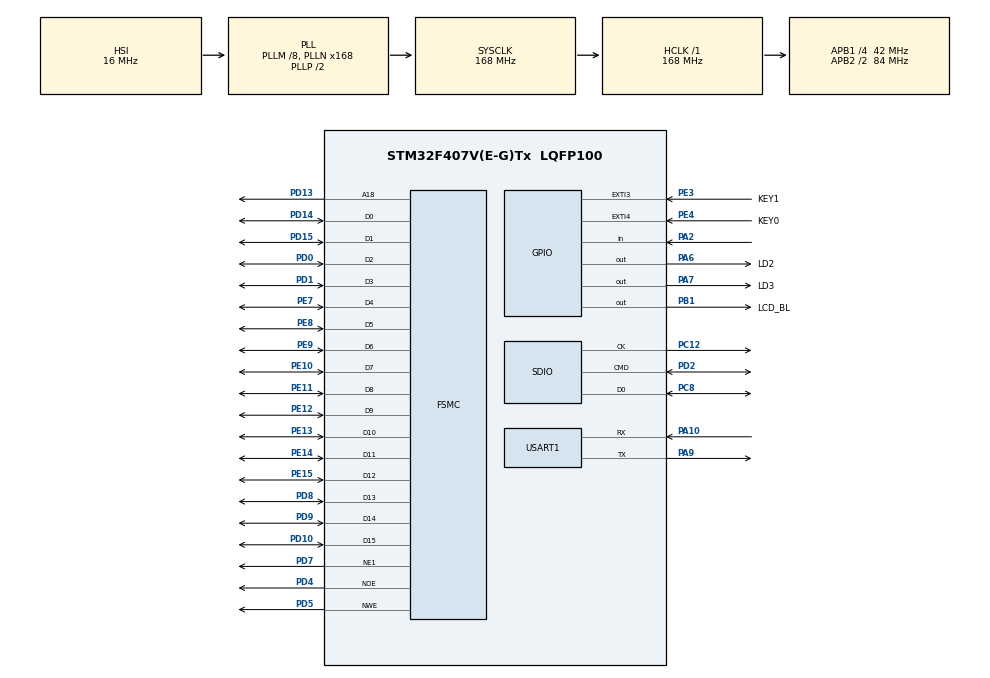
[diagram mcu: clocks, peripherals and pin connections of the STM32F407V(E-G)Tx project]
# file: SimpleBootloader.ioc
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Dma.Request0=SDIO_RX
Dma.Request1=SDIO_TX
Dma.SDIO_RX.0.Direction=DMA_PERIPH_TO_MEMORY
Dma.SDIO_RX.0.FIFOMode=DMA_FIFOMODE_ENABLE
Dma.SDIO_RX.0.FIFOThreshold=DMA_FIFO_THRESHOLD_FULL
Dma.SDIO_RX.0.Instance=DMA2_Stream3
Dma.SDIO_RX.0.MemBurst=DMA_MBURST_INC4
Dma.SDIO_RX.0.MemDataAlignment=DMA_MDATAALIGN_WORD
Dma.SDIO_RX.0.MemInc=DMA_MINC_ENABLE
Dma.SDIO_RX.0.Mode=DMA_PFCTRL
Dma.SDIO_RX.0.PeriphBurst=DMA_PBURST_INC4
Dma.SDIO_RX.0.PeriphDataAlignment=DMA_PDATAALIGN_WORD
Dma.SDIO_RX.0.PeriphInc=DMA_PINC_DISABLE
Dma.SDIO_RX.0.Priority=DMA_PRIORITY_LOW
Dma.SDIO_TX.1.Direction=DMA_MEMORY_TO_PERIPH
Dma.SDIO_TX.1.FIFOMode=DMA_FIFOMODE_ENABLE
Dma.SDIO_TX.1.FIFOThreshold=DMA_FIFO_THRESHOLD_FULL
Dma.SDIO_TX.1.Instance=DMA2_Stream6
Dma.SDIO_TX.1.MemBurst=DMA_MBURST_INC4
Dma.SDIO_TX.1.MemDataAlignment=DMA_MDATAALIGN_WORD
Dma.SDIO_TX.1.MemInc=DMA_MINC_ENABLE
Dma.SDIO_TX.1.Mode=DMA_PFCTRL
Dma.SDIO_TX.1.PeriphBurst=DMA_PBURST_INC4
Dma.SDIO_TX.1.PeriphDataAlignment=DMA_PDATAALIGN_WORD
Dma.SDIO_TX.1.PeriphInc=DMA_PINC_DISABLE
Dma.SDIO_TX.1.Priority=DMA_PRIORITY_LOW
FATFS.BSP.number=1
FATFS._MAX_SS=4096
FATFS._USE_LFN=0
FATFS0.BSP.STBoard=false
FATFS0.BSP.api=Unknown
FATFS0.BSP.instance=PA2
FATFS0.BSP.ip=GPIO
FATFS0.BSP.mode=Input
FATFS0.BSP.name=Detect_SDIO
FATFS0.BSP.solution=PA2
FSMC.AddressSetupTime1=1
FSMC.BusTurnAroundDuration1=0
FSMC.DataSetupTime1=5
Mcu.Family=STM32F4
Mcu.Name=STM32F407V(E-G)Tx
Mcu.Package=LQFP100
NVIC.DMA2_Stream3_IRQn=true\:0\:0\:false\:false\:true\:false\:true\:true
NVIC.DMA2_Stream6_IRQn=true\:0\:0\:false\:false\:true\:false\:true\:true
NVIC.EXTI3_IRQn=true\:0\:0\:false\:false\:true\:true\:true\:true
NVIC.EXTI4_IRQn=true\:0\:0\:false\:false\:true\:true\:true\:true
NVIC.PriorityGroup=NVIC_PRIORITYGROUP_4
NVIC.TIM6_DAC_IRQn=true\:0\:0\:false\:false\:true\:true\:true\:true
NVIC.TIM7_IRQn=true\:0\:0\:false\:false\:true\:true\:true\:true
PA10.Mode=Asynchronous
PA10.Signal=USART1_RX
PA13.Mode=Serial_Wire
PA13.Signal=SYS_JTMS-SWDIO
PA14.Mode=Serial_Wire
PA14.Signal=SYS_JTCK-SWCLK
PA2.Signal=GPIO_Input
PA6.GPIO_Label=LD2
PA6.PinState=GPIO_PIN_SET
PA6.Signal=GPIO_Output
PA7.GPIO_Label=LD3
PA7.PinState=GPIO_PIN_SET
PA7.Signal=GPIO_Output
PA9.Mode=Asynchronous
PA9.Signal=USART1_TX
PB1.GPIO_Label=LCD_BL
PB1.Signal=GPIO_Output
PC10.GPIO_Label=uSD_D2
PC10.Signal=SDIO_D2
PC11.GPIO_Label=uSD_D3
PC11.Signal=SDIO_D3
PC12.Mode=SD_1_bit
PC12.Signal=SDIO_CK
PC8.Mode=SD_1_bit
PC8.Signal=SDIO_D0
PC9.GPIO_Label=uSD_D1
PC9.Signal=SDIO_D1
PD0.Mode=16b-d1
PD0.Signal=FSMC_D2
PD1.Mode=16b-d1
PD1.Signal=FSMC_D3
PD10.Mode=16b-d1
PD10.Signal=FSMC_D15
PD13.Mode=A18_1
PD13.Signal=FSMC_A18
PD14.Mode=16b-d1
PD14.Signal=FSMC_D0
PD15.Mode=16b-d1
PD15.Signal=FSMC_D1
PD2.Mode=SD_1_bit
PD2.Signal=SDIO_CMD
PD4.Mode=Lcd1
PD4.Signal=FSMC_NOE
PD5.Mode=Lcd1
PD5.Signal=FSMC_NWE
PD7.Mode=NorPsramChipSelect1_1
PD7.Signal=FSMC_NE1
PD8.Mode=16b-d1
PD8.Signal=FSMC_D13
PD9.Mode=16b-d1
PD9.Signal=FSMC_D14
PE10.Mode=16b-d1
PE10.Signal=FSMC_D7
PE11.Mode=16b-d1
PE11.Signal=FSMC_D8
PE12.Mode=16b-d1
PE12.Signal=FSMC_D9
PE13.Mode=16b-d1
PE13.Signal=FSMC_D10
PE14.Mode=16b-d1
PE14.Signal=FSMC_D11
PE15.Mode=16b-d1
PE15.Signal=FSMC_D12
PE3.GPIO_Label=KEY1
PE3.GPIO_PuPd=GPIO_PULLUP
PE3.Signal=GPXTI3
PE4.GPIO_Label=KEY0
PE4.GPIO_PuPd=GPIO_PULLUP
PE4.Signal=GPXTI4
PE7.Mode=16b-d1
PE7.Signal=FSMC_D4
PE8.Mode=16b-d1
PE8.Signal=FSMC_D5
PE9.Mode=16b-d1
PE9.Signal=FSMC_D6
PH0-OSC_IN.Mode=HSE-External-Oscillator
PH0-OSC_IN.Signal=RCC_OSC_IN
PH1-OSC_OUT.Mode=HSE-External-Oscillator
PH1-OSC_OUT.Signal=RCC_OSC_OUT
ProjectManager.HeapSize=0x200
ProjectManager.StackSize=0x400
ProjectManager.TargetToolchain=STM32CubeIDE
RCC.48MHZClocksFreq_Value=48000000
RCC.AHBFreq_Value=168000000
RCC.APB1CLKDivider=RCC_HCLK_DIV4
RCC.APB1Freq_Value=42000000
RCC.APB1TimFreq_Value=84000000
RCC.APB2CLKDivider=RCC_HCLK_DIV2
RCC.APB2Freq_Value=84000000
RCC.APB2TimFreq_Value=168000000
RCC.CortexFreq_Value=168000000
RCC.HCLKFreq_Value=168000000
RCC.HSE_VALUE=25000000
RCC.HSI_VALUE=16000000
RCC.LSE_VALUE=32768
RCC.PLLM=8
RCC.PLLN=168
RCC.PLLQ=7
RCC.SYSCLKFreq_VALUE=168000000
RCC.SYSCLKSource=RCC_SYSCLKSOURCE_PLLCLK
RCC.VCOOutputFreq_Value=336000000
SDIO.ClockDiv=3
TIM6.Period=100
TIM6.Prescaler=7999
TIM7.Period=10000
TIM7.Prescaler=7999
USART1.VirtualMode=VM_ASYNC
VP_FATFS_VS_SDIO.Mode=SDIO
VP_TIM6_VS_ClockSourceINT.Mode=Enable_Timer
VP_TIM7_VS_ClockSourceINT.Mode=Enable_Timer
board=custom

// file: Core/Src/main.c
/* USER CODE BEGIN Header */
/**
  ******************************************************************************
  * @file           : main.c
  * @brief          : Main program body
  ******************************************************************************
  * @attention
  *
  * Copyright (c) 2024 STMicroelectronics.
  * All rights reserved.
  *
  * This software is licensed under terms that can be found in the LICENSE file
  * in the root directory of this software component.
  * If no LICENSE file comes with this software, it is provided AS-IS.
  *
  ******************************************************************************
  */
/* USER CODE END Header */
#include "main.h"
#include "fatfs.h"

/* USER CODE BEGIN Includes */
#include "etx_ota_update.h"
#include "ili9341.h"
#include <stdio.h>

/* USER CODE END Includes */

/* USER CODE BEGIN PD */
void PrintBootTimer();
void LoadApp();
static void GoToApplication(void);
void Intro();

/* USER CODE END PD */

SD_HandleTypeDef hsd;
DMA_HandleTypeDef hdma_sdio_rx;
DMA_HandleTypeDef hdma_sdio_tx;

TIM_HandleTypeDef htim6;
TIM_HandleTypeDef htim7;

UART_HandleTypeDef huart1;

SRAM_HandleTypeDef hsram1;

/* USER CODE BEGIN PV */
char file_name[17];
uint8_t num_files;
char file_names[16][13];

bool exist_update = false;
const uint8_t boot_timer_max = 10;
uint8_t boot_timer = boot_timer_max;
uint32_t switch_delay = 1000;

bool debounce_flag = false;

const uint16_t text_color = COLOR_WHITE;
const uint16_t bg_color = COLOR_BLACK;
sFONT font;

/* USER CODE END PV */

void SystemClock_Config(void);
static void MX_GPIO_Init(void);
static void MX_DMA_Init(void);
static void MX_USART1_UART_Init(void);
static void MX_SDIO_SD_Init(void);
static void MX_FSMC_Init(void);
static void MX_TIM6_Init(void);
static void MX_TIM7_Init(void);

/* USER CODE BEGIN 0 */
int _write(int file, char *ptr, int len)
{
	HAL_UART_Transmit(&huart1, (uint8_t *) ptr, len, HAL_MAX_DELAY);
	lcdPrint(ptr, len);
	return len;
}

/* USER CODE END 0 */

int main(void)
{

  /* USER CODE BEGIN 1 */
	font = Font12;

  /* USER CODE END 1 */

  /* MCU Configuration--------------------------------------------------------*/

  /* Reset of all peripherals, Initializes the Flash interface and the Systick. */
  HAL_Init();

  /* Configure the system clock */
  SystemClock_Config();

  /* Initialize all configured peripherals */
  MX_GPIO_Init();
  MX_DMA_Init();
  MX_USART1_UART_Init();
  MX_SDIO_SD_Init();
  MX_FATFS_Init();
  MX_FSMC_Init();
  MX_TIM6_Init();
  MX_TIM7_Init();
  /* USER CODE BEGIN 2 */

	lcdBacklightOn();
	lcdInit();
	lcdSetOrientation(LCD_ORIENTATION_PORTRAIT_MIRROR);
	lcdFillRGB(bg_color);
	lcdSetTextFont(&font);
	lcdSetTextColor(text_color, bg_color);

	Intro();
	PrintBootTimer();

	HAL_TIM_Base_Init(&htim7);
	HAL_TIM_Base_Start_IT(&htim7);

	while (boot_timer > 0);

	HAL_TIM_Base_Stop_IT(&htim7);
	LoadApp();

  /* USER CODE END 2 */

  /* Infinite loop */
  while (1)
  {

  }
}

void SystemClock_Config(void)
{
  RCC_OscInitTypeDef RCC_OscInitStruct = {0};
  RCC_ClkInitTypeDef RCC_ClkInitStruct = {0};

  /** Configure the main internal regulator output voltage
  */
  __HAL_RCC_PWR_CLK_ENABLE();
  __HAL_PWR_VOLTAGESCALING_CONFIG(PWR_REGULATOR_VOLTAGE_SCALE1);

  /** Initializes the RCC Oscillators according to the specified parameters
  * in the RCC_OscInitTypeDef structure.
  */
  RCC_OscInitStruct.OscillatorType = RCC_OSCILLATORTYPE_HSI;
  RCC_OscInitStruct.HSIState = RCC_HSI_ON;
  RCC_OscInitStruct.HSICalibrationValue = RCC_HSICALIBRATION_DEFAULT;
  RCC_OscInitStruct.PLL.PLLState = RCC_PLL_ON;
  RCC_OscInitStruct.PLL.PLLSource = RCC_PLLSOURCE_HSI;
  RCC_OscInitStruct.PLL.PLLM = 8;
  RCC_OscInitStruct.PLL.PLLN = 168;
  RCC_OscInitStruct.PLL.PLLP = RCC_PLLP_DIV2;
  RCC_OscInitStruct.PLL.PLLQ = 7;
  if (HAL_RCC_OscConfig(&RCC_OscInitStruct) != HAL_OK)
  {
    Error_Handler();
  }

  /** Initializes the CPU, AHB and APB buses clocks
  */
  RCC_ClkInitStruct.ClockType = RCC_CLOCKTYPE_HCLK|RCC_CLOCKTYPE_SYSCLK
                              |RCC_CLOCKTYPE_PCLK1|RCC_CLOCKTYPE_PCLK2;
  RCC_ClkInitStruct.SYSCLKSource = RCC_SYSCLKSOURCE_PLLCLK;
  RCC_ClkInitStruct.AHBCLKDivider = RCC_SYSCLK_DIV1;
  RCC_ClkInitStruct.APB1CLKDivider = RCC_HCLK_DIV4;
  RCC_ClkInitStruct.APB2CLKDivider = RCC_HCLK_DIV2;

  if (HAL_RCC_ClockConfig(&RCC_ClkInitStruct, FLASH_LATENCY_5) != HAL_OK)
  {
    Error_Handler();
  }
}

static void MX_SDIO_SD_Init(void)
{

  hsd.Instance = SDIO;
  hsd.Init.ClockEdge = SDIO_CLOCK_EDGE_RISING;
  hsd.Init.ClockBypass = SDIO_CLOCK_BYPASS_DISABLE;
  hsd.Init.ClockPowerSave = SDIO_CLOCK_POWER_SAVE_DISABLE;
  hsd.Init.BusWide = SDIO_BUS_WIDE_1B;
  hsd.Init.HardwareFlowControl = SDIO_HARDWARE_FLOW_CONTROL_DISABLE;
  hsd.Init.ClockDiv = 3;
  /* USER CODE BEGIN SDIO_Init 2 */
  if (HAL_SD_Init(&hsd) != HAL_OK)
  {
     Error_Handler();
  }
  if (HAL_SD_ConfigWideBusOperation(&hsd, SDIO_BUS_WIDE_4B) != HAL_OK)
  {
     Error_Handler();
  }
  /* USER CODE END SDIO_Init 2 */

}

static void MX_TIM6_Init(void)
{

  TIM_MasterConfigTypeDef sMasterConfig = {0};

  htim6.Instance = TIM6;
  htim6.Init.Prescaler = 7999;
  htim6.Init.CounterMode = TIM_COUNTERMODE_UP;
  htim6.Init.Period = 100;
  htim6.Init.AutoReloadPreload = TIM_AUTORELOAD_PRELOAD_DISABLE;
  if (HAL_TIM_Base_Init(&htim6) != HAL_OK)
  {
    Error_Handler();
  }
  sMasterConfig.MasterOutputTrigger = TIM_TRGO_RESET;
  sMasterConfig.MasterSlaveMode = TIM_MASTERSLAVEMODE_DISABLE;
  if (HAL_TIMEx_MasterConfigSynchronization(&htim6, &sMasterConfig) != HAL_OK)
  {
    Error_Handler();
  }

}

static void MX_TIM7_Init(void)
{

  TIM_MasterConfigTypeDef sMasterConfig = {0};

  htim7.Instance = TIM7;
  htim7.Init.Prescaler = 7999;
  htim7.Init.CounterMode = TIM_COUNTERMODE_UP;
  htim7.Init.Period = 10000;
  htim7.Init.AutoReloadPreload = TIM_AUTORELOAD_PRELOAD_DISABLE;
  if (HAL_TIM_Base_Init(&htim7) != HAL_OK)
  {
    Error_Handler();
  }
  sMasterConfig.MasterOutputTrigger = TIM_TRGO_RESET;
  sMasterConfig.MasterSlaveMode = TIM_MASTERSLAVEMODE_DISABLE;
  if (HAL_TIMEx_MasterConfigSynchronization(&htim7, &sMasterConfig) != HAL_OK)
  {
    Error_Handler();
  }

}

static void MX_USART1_UART_Init(void)
{

  huart1.Instance = USART1;
  huart1.Init.BaudRate = 115200;
  huart1.Init.WordLength = UART_WORDLENGTH_8B;
  huart1.Init.StopBits = UART_STOPBITS_1;
  huart1.Init.Parity = UART_PARITY_NONE;
  huart1.Init.Mode = UART_MODE_TX_RX;
  huart1.Init.HwFlowCtl = UART_HWCONTROL_NONE;
  huart1.Init.OverSampling = UART_OVERSAMPLING_16;
  if (HAL_UART_Init(&huart1) != HAL_OK)
  {
    Error_Handler();
  }

}

static void MX_DMA_Init(void)
{

  /* DMA controller clock enable */
  __HAL_RCC_DMA2_CLK_ENABLE();

  /* DMA interrupt init */
  /* DMA2_Stream3_IRQn interrupt configuration */
  HAL_NVIC_SetPriority(DMA2_Stream3_IRQn, 0, 0);
  HAL_NVIC_EnableIRQ(DMA2_Stream3_IRQn);
  /* DMA2_Stream6_IRQn interrupt configuration */
  HAL_NVIC_SetPriority(DMA2_Stream6_IRQn, 0, 0);
  HAL_NVIC_EnableIRQ(DMA2_Stream6_IRQn);

}

static void MX_GPIO_Init(void)
{
  GPIO_InitTypeDef GPIO_InitStruct = {0};

  /* GPIO Ports Clock Enable */
  __HAL_RCC_GPIOE_CLK_ENABLE();
  __HAL_RCC_GPIOH_CLK_ENABLE();
  __HAL_RCC_GPIOA_CLK_ENABLE();
  __HAL_RCC_GPIOB_CLK_ENABLE();
  __HAL_RCC_GPIOD_CLK_ENABLE();
  __HAL_RCC_GPIOC_CLK_ENABLE();

  /*Configure GPIO pin Output Level */
  HAL_GPIO_WritePin(GPIOA, LD2_Pin|LD3_Pin, GPIO_PIN_SET);

  /*Configure GPIO pin Output Level */
  HAL_GPIO_WritePin(LCD_BL_GPIO_Port, LCD_BL_Pin, GPIO_PIN_RESET);

  /*Configure GPIO pins : KEY1_Pin KEY0_Pin */
  GPIO_InitStruct.Pin = KEY1_Pin|KEY0_Pin;
  GPIO_InitStruct.Mode = GPIO_MODE_IT_RISING;
  GPIO_InitStruct.Pull = GPIO_PULLUP;
  HAL_GPIO_Init(GPIOE, &GPIO_InitStruct);

  /*Configure GPIO pin : PA2 */
  GPIO_InitStruct.Pin = GPIO_PIN_2;
  GPIO_InitStruct.Mode = GPIO_MODE_INPUT;
  GPIO_InitStruct.Pull = GPIO_NOPULL;
  HAL_GPIO_Init(GPIOA, &GPIO_InitStruct);

  /*Configure GPIO pins : LD2_Pin LD3_Pin */
  GPIO_InitStruct.Pin = LD2_Pin|LD3_Pin;
  GPIO_InitStruct.Mode = GPIO_MODE_OUTPUT_PP;
  GPIO_InitStruct.Pull = GPIO_NOPULL;
  GPIO_InitStruct.Speed = GPIO_SPEED_FREQ_LOW;
  HAL_GPIO_Init(GPIOA, &GPIO_InitStruct);

  /*Configure GPIO pin : LCD_BL_Pin */
  GPIO_InitStruct.Pin = LCD_BL_Pin;
  GPIO_InitStruct.Mode = GPIO_MODE_OUTPUT_PP;
  GPIO_InitStruct.Pull = GPIO_NOPULL;
  GPIO_InitStruct.Speed = GPIO_SPEED_FREQ_LOW;
  HAL_GPIO_Init(LCD_BL_GPIO_Port, &GPIO_InitStruct);

  /* EXTI interrupt init*/
  HAL_NVIC_SetPriority(EXTI3_IRQn, 0, 0);
  HAL_NVIC_EnableIRQ(EXTI3_IRQn);

  HAL_NVIC_SetPriority(EXTI4_IRQn, 0, 0);
  HAL_NVIC_EnableIRQ(EXTI4_IRQn);

}

/* FSMC initialization function */
static void MX_FSMC_Init(void)
{

  FSMC_NORSRAM_TimingTypeDef Timing = {0};

  /** Perform the SRAM1 memory initialization sequence
  */
  hsram1.Instance = FSMC_NORSRAM_DEVICE;
  hsram1.Extended = FSMC_NORSRAM_EXTENDED_DEVICE;
  /* hsram1.Init */
  hsram1.Init.NSBank = FSMC_NORSRAM_BANK1;
  hsram1.Init.DataAddressMux = FSMC_DATA_ADDRESS_MUX_DISABLE;
  hsram1.Init.MemoryType = FSMC_MEMORY_TYPE_SRAM;
  hsram1.Init.MemoryDataWidth = FSMC_NORSRAM_MEM_BUS_WIDTH_16;
  hsram1.Init.BurstAccessMode = FSMC_BURST_ACCESS_MODE_DISABLE;
  hsram1.Init.WaitSignalPolarity = FSMC_WAIT_SIGNAL_POLARITY_LOW;
  hsram1.Init.WrapMode = FSMC_WRAP_MODE_DISABLE;
  hsram1.Init.WaitSignalActive = FSMC_WAIT_TIMING_BEFORE_WS;
  hsram1.Init.WriteOperation = FSMC_WRITE_OPERATION_ENABLE;
  hsram1.Init.WaitSignal = FSMC_WAIT_SIGNAL_DISABLE;
  hsram1.Init.ExtendedMode = FSMC_EXTENDED_MODE_DISABLE;
  hsram1.Init.AsynchronousWait = FSMC_ASYNCHRONOUS_WAIT_DISABLE;
  hsram1.Init.WriteBurst = FSMC_WRITE_BURST_DISABLE;
  hsram1.Init.PageSize = FSMC_PAGE_SIZE_NONE;
  /* Timing */
  Timing.AddressSetupTime = 1;
  Timing.AddressHoldTime = 15;
  Timing.DataSetupTime = 5;
  Timing.BusTurnAroundDuration = 0;
  Timing.CLKDivision = 16;
  Timing.DataLatency = 17;
  Timing.AccessMode = FSMC_ACCESS_MODE_A;
  /* ExtTiming */

  if (HAL_SRAM_Init(&hsram1, &Timing, NULL) != HAL_OK)
  {
    Error_Handler( );
  }

}

/* USER CODE BEGIN 4 */

void Intro()
{
	printf("\n");
	lcdSetCursor(0, 0);
	printf("---------------------------------\r\n");
	printf("        Simple Bootloader        \r\n");
	printf("---------------------------------\r\n");

	num_files = GetFilenames(file_names, "/bin");
	printf("%u files found.\r\n", num_files);

	printf("K0: Load program\r\n");
	printf("K1: Change program\r\n");
}

void PrintBootTimer()
{
	lcdSetCursor(0, lcdGetHeight() - font.Height);
	printf("Booting in %d...\r\n", boot_timer);
}

void LoadApp()
{
	lcdSetCursor(0, font.Height * 10);

	if (exist_update)
	{
	   ETX_SD_EX_ sd_ex = check_update_firmware_SD_card(file_name);
	   if (sd_ex != 0)
	   {
		   printf("Firmware update error (%u)\r\n", sd_ex);
	   }
	   else
	   {
		   printf("Firmware updated.\r\n");
	   }
	}

	GoToApplication();
}

static void GoToApplication(void)
{
  printf("Switching to app %s\r\n", file_name);
  HAL_Delay(switch_delay);

  void (*app_reset_handler)(void) = (void*)(*((volatile uint32_t*) (ETX_APP_FLASH_ADDR + 4U)));

   /* Reset the Clock */

  HAL_RCC_DeInit();
  HAL_DeInit();
  __set_MSP(*(volatile uint32_t*) ETX_APP_FLASH_ADDR);

  SysTick->CTRL = 0;
  SysTick->LOAD = 0;
  SysTick->VAL = 0;

  /* Jump to application */
  app_reset_handler();    //call the app reset handler
}

void HAL_GPIO_EXTI_Callback(uint16_t GPIO_Pin)
{
	static uint8_t file_number = 0;

	if (GPIO_Pin == KEY0_Pin)
	{
		boot_timer = 0;
	}

	if (GPIO_Pin == KEY1_Pin && !debounce_flag)
	{
		exist_update = true;
		file_number = (file_number + 1) % num_files;
		boot_timer = boot_timer_max;
		PrintBootTimer();

		sprintf(file_name, "bin/%s", file_names[file_number]);

		lcdSetCursor(0, font.Height * 9);
		lcdPrintf("                          \r");
		printf("FW: %s\r\n", file_names[file_number]);

		debounce_flag = true;
		HAL_TIM_Base_Start_IT(&htim6);
	}
}

void HAL_TIM_PeriodElapsedCallback(TIM_HandleTypeDef *htim)
{
	if (htim == &htim6)
	{
		HAL_TIM_Base_Stop_IT(&htim6);
		debounce_flag = false;
	}
	else if (htim == &htim7)
	{
		--boot_timer;
		PrintBootTimer();
	}
}

/* USER CODE END 4 */

void Error_Handler(void)
{
  __disable_irq();
  while (1)
  {
  }
}
